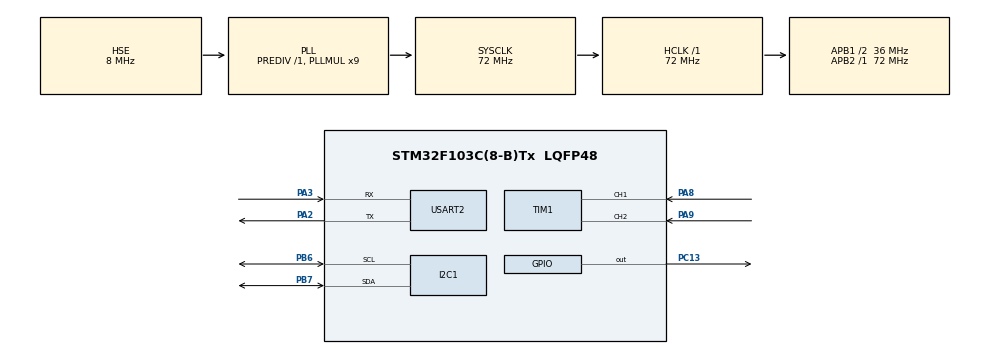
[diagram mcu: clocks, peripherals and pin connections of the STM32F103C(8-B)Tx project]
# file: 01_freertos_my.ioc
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FREERTOS.Tasks01=defaultTask,24,128,StartDefaultTask,Default,NULL,Dynamic,NULL,NULL
Mcu.Family=STM32F1
Mcu.Name=STM32F103C(8-B)Tx
Mcu.Package=LQFP48
NVIC.PriorityGroup=NVIC_PRIORITYGROUP_4
NVIC.TIM3_IRQn=true\:5\:0\:false\:false\:true\:true\:true\:true\:true
NVIC.TIM4_IRQn=true\:15\:0\:false\:false\:true\:false\:false\:true\:true
NVIC.TimeBase=TIM4_IRQn
NVIC.TimeBaseIP=TIM4
NVIC.USART2_IRQn=true\:5\:0\:false\:false\:true\:true\:true\:true\:true
PA13.Mode=Serial_Wire
PA13.Signal=SYS_JTMS-SWDIO
PA14.Mode=Serial_Wire
PA14.Signal=SYS_JTCK-SWCLK
PA2.Mode=Asynchronous
PA2.Signal=USART2_TX
PA3.Mode=Asynchronous
PA3.Signal=USART2_RX
PA8.GPIO_PuPd=GPIO_PULLUP
PA8.Signal=S_TIM1_CH1
PA9.GPIO_PuPd=GPIO_PULLUP
PA9.Signal=S_TIM1_CH2
PB6.Mode=I2C
PB6.Signal=I2C1_SCL
PB7.Mode=I2C
PB7.Signal=I2C1_SDA
PC13-TAMPER-RTC.GPIO_ModeDefaultOutputPP=GPIO_MODE_OUTPUT_PP
PC13-TAMPER-RTC.Signal=GPIO_Output
PC14-OSC32_IN.Mode=LSE-External-Oscillator
PC14-OSC32_IN.Signal=RCC_OSC32_IN
PC15-OSC32_OUT.Mode=LSE-External-Oscillator
PC15-OSC32_OUT.Signal=RCC_OSC32_OUT
PD0-OSC_IN.Mode=HSE-External-Oscillator
PD0-OSC_IN.Signal=RCC_OSC_IN
PD1-OSC_OUT.Mode=HSE-External-Oscillator
PD1-OSC_OUT.Signal=RCC_OSC_OUT
ProjectManager.HeapSize=0x200
ProjectManager.StackSize=0x400
ProjectManager.TargetToolchain=MDK-ARM V5.32
RCC.AHBFreq_Value=72000000
RCC.APB1CLKDivider=RCC_HCLK_DIV2
RCC.APB1Freq_Value=36000000
RCC.APB1TimFreq_Value=72000000
RCC.APB2Freq_Value=72000000
RCC.APB2TimFreq_Value=72000000
RCC.HCLKFreq_Value=72000000
RCC.PLLMUL=RCC_PLL_MUL9
RCC.PLLSourceVirtual=RCC_PLLSOURCE_HSE
RCC.RTCClockSelection=RCC_RTCCLKSOURCE_LSE
RCC.SYSCLKFreq_VALUE=72000000
RCC.SYSCLKSource=RCC_SYSCLKSOURCE_PLLCLK
RCC.USBFreq_Value=72000000
RTC.Date=2
RTC.Hours=10
RTC.Minutes=34
RTC.Month=RTC_MONTH_JULY
RTC.Seconds=50
RTC.WeekDay=RTC_WEEKDAY_WEDNESDAY
RTC.Year=25
SH.S_TIM1_CH1.0=TIM1_CH1,Encoder_Interface
SH.S_TIM1_CH2.0=TIM1_CH2,Encoder_Interface
TIM1.EncoderMode=TIM_ENCODERMODE_TI12
TIM1.IC1Filter=15
TIM1.IC2Filter=15
TIM3.Period=200-1
TIM3.Prescaler=7200-1
USART2.VirtualMode=VM_ASYNC
VP_FREERTOS_VS_CMSIS_V2.Mode=CMSIS_V2
VP_RTC_VS_RTC_Activate.Mode=RTC_Enabled
VP_RTC_VS_RTC_Calendar.Mode=RTC_Calendar
VP_SYS_VS_tim4.Mode=TIM4
VP_TIM3_VS_ClockSourceINT.Mode=Internal
board=custom

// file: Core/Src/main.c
/* USER CODE BEGIN Header */
/**
  ******************************************************************************
  * @file           : main.c
  * @brief          : Main program body
  ******************************************************************************
  * @attention
  *
  * Copyright (c) 2023 STMicroelectronics.
  * All rights reserved.
  *
  * This software is licensed under terms that can be found in the LICENSE file
  * in the root directory of this software component.
  * If no LICENSE file comes with this software, it is provided AS-IS.
  *
  ******************************************************************************
  */
/* USER CODE END Header */
#include "main.h"
#include "cmsis_os.h"
#include "i2c.h"
#include "rtc.h"
#include "tim.h"
#include "usart.h"
#include "gpio.h"

void SystemClock_Config(void);
void MX_FREERTOS_Init(void);

int main(void)
{

  /* MCU Configuration--------------------------------------------------------*/

  /* Reset of all peripherals, Initializes the Flash interface and the Systick. */
  HAL_Init();

  /* Configure the system clock */
  SystemClock_Config();

  /* Initialize all configured peripherals */
  MX_GPIO_Init();
  MX_I2C1_Init();
  MX_USART2_UART_Init();
  MX_RTC_Init();
  MX_TIM1_Init();
  MX_TIM3_Init();

  /* Init scheduler */
  osKernelInitialize();

  /* Call init function for freertos objects (in cmsis_os2.c) */
  MX_FREERTOS_Init();

  /* Start scheduler */
  osKernelStart();

  /* We should never get here as control is now taken by the scheduler */

  /* Infinite loop */
  while (1)
  {

  }
}

void SystemClock_Config(void)
{
  RCC_OscInitTypeDef RCC_OscInitStruct = {0};
  RCC_ClkInitTypeDef RCC_ClkInitStruct = {0};
  RCC_PeriphCLKInitTypeDef PeriphClkInit = {0};

  /** Initializes the RCC Oscillators according to the specified parameters
  * in the RCC_OscInitTypeDef structure.
  */
  RCC_OscInitStruct.OscillatorType = RCC_OSCILLATORTYPE_HSE|RCC_OSCILLATORTYPE_LSE;
  RCC_OscInitStruct.HSEState = RCC_HSE_ON;
  RCC_OscInitStruct.HSEPredivValue = RCC_HSE_PREDIV_DIV1;
  RCC_OscInitStruct.LSEState = RCC_LSE_ON;
  RCC_OscInitStruct.HSIState = RCC_HSI_ON;
  RCC_OscInitStruct.PLL.PLLState = RCC_PLL_ON;
  RCC_OscInitStruct.PLL.PLLSource = RCC_PLLSOURCE_HSE;
  RCC_OscInitStruct.PLL.PLLMUL = RCC_PLL_MUL9;
  if (HAL_RCC_OscConfig(&RCC_OscInitStruct) != HAL_OK)
  {
    Error_Handler();
  }

  /** Initializes the CPU, AHB and APB buses clocks
  */
  RCC_ClkInitStruct.ClockType = RCC_CLOCKTYPE_HCLK|RCC_CLOCKTYPE_SYSCLK
                              |RCC_CLOCKTYPE_PCLK1|RCC_CLOCKTYPE_PCLK2;
  RCC_ClkInitStruct.SYSCLKSource = RCC_SYSCLKSOURCE_PLLCLK;
  RCC_ClkInitStruct.AHBCLKDivider = RCC_SYSCLK_DIV1;
  RCC_ClkInitStruct.APB1CLKDivider = RCC_HCLK_DIV2;
  RCC_ClkInitStruct.APB2CLKDivider = RCC_HCLK_DIV1;

  if (HAL_RCC_ClockConfig(&RCC_ClkInitStruct, FLASH_LATENCY_2) != HAL_OK)
  {
    Error_Handler();
  }
  PeriphClkInit.PeriphClockSelection = RCC_PERIPHCLK_RTC;
  PeriphClkInit.RTCClockSelection = RCC_RTCCLKSOURCE_LSE;
  if (HAL_RCCEx_PeriphCLKConfig(&PeriphClkInit) != HAL_OK)
  {
    Error_Handler();
  }
}

void HAL_TIM_PeriodElapsedCallback(TIM_HandleTypeDef *htim)
{
  if (htim->Instance == TIM4)
  {
    HAL_IncTick();
  }
}

void Error_Handler(void)
{
  __disable_irq();
  while (1)
  {
  }
}

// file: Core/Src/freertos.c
/* USER CODE BEGIN Header */
/**
  ******************************************************************************
  * File Name          : freertos.c
  * Description        : Code for freertos applications
  ******************************************************************************
  * @attention
  *
  * Copyright (c) 2023 STMicroelectronics.
  * All rights reserved.
  *
  * This software is licensed under terms that can be found in the LICENSE file
  * in the root directory of this software component.
  * If no LICENSE file comes with this software, it is provided AS-IS.
  *
  ******************************************************************************
  */
/* USER CODE END Header */

#include "FreeRTOS.h"
#include "task.h"
#include "main.h"
#include "cmsis_os.h"

/* USER CODE BEGIN Includes */
#include "driver_led.h"
#include "oled.h"
#include "bsp_hw269.h"
#include "driver_timer.h"
#include "driver_active_buzzer.h"
#include "driver_esp8266.h"
#include "timestamp.h"
#include "usart.h"
#include "key.h"
#include "tim.h"

/* USER CODE END Includes */

/* USER CODE BEGIN Variables */
static StackType_t g_puStackoflightTask[128];
static StaticTask_t g_TCBoflightTask;

osThreadId_t encoderTaskHandle;
const osThreadAttr_t encoderTask_attributes = {
  .name = "encoderTask",
  .stack_size = 128 * 4,
  .priority = (osPriority_t) osPriorityNormal,
};

/* USER CODE END Variables */
/* Definitions for defaultTask */
osThreadId_t defaultTaskHandle;
const osThreadAttr_t defaultTask_attributes = {
  .name = "defaultTask",
  .stack_size = 128 * 4,
  .priority = (osPriority_t) osPriorityNormal,
};

/* USER CODE BEGIN FunctionPrototypes */
struct taskprintinfo{
  uint8_t x;
  uint8_t y;
  char name[16];
};

static struct taskprintinfo g_task1printinfo = {0,0,"task1"};
static struct taskprintinfo g_task2printinfo = {0,3,"task2"};
static struct taskprintinfo g_task3printinfo = {0,6,"task3"};
static uint8_t Oled_flag = 0;

void EncoderTask(void *argument);

/* USER CODE END FunctionPrototypes */

void StartDefaultTask(void *argument);

void MX_FREERTOS_Init(void); /* (MISRA C 2004 rule 8.1) */

void MX_FREERTOS_Init(void) {
  /* USER CODE BEGIN Init */

  OLED_Init();
  OLED_Clear();
  /* USER CODE END Init */

  /* Create the thread(s) */
  /* creation of defaultTask */
  defaultTaskHandle = osThreadNew(StartDefaultTask, NULL, &defaultTask_attributes);

  /* USER CODE BEGIN RTOS_THREADS */

  encoderTaskHandle = osThreadNew(EncoderTask, NULL, &encoderTask_attributes);

  /* add threads, ... */
  /**/
  //xTaskCreate(ActiveBuzzer_Test, "playmusic", 128, NULL, osPriorityNormal, &xsoundtaskhandle);

  /*ssssssss*/
  //xlighttaskhandle = xTaskCreateStatic(Led_Test, "lighttask", 128, NULL, osPriorityNormal, g_puStackoflightTask,&g_TCBoflightTask);

  /*task1*/
//  xTaskCreate(OLEDprintTask, "task1", 128, &g_task1printinfo, osPriorityNormal, NULL);
  /*task2*/
//  xTaskCreate(OLEDprintTask, "task2", 128, &g_task2printinfo, osPriorityNormal, NULL);
  /*task3*/
  //xTaskCreate(OLEDprintTask, "task3", 128, &g_task3printinfo, osPriorityNormal, NULL);

  /* USER CODE END RTOS_THREADS */

}

void StartDefaultTask(void *argument)
{
  /* USER CODE BEGIN StartDefaultTask */
  /* Infinite loop */

  extern RTC_HandleTypeDef hrtc;
  Times time_now;
  RTC_TimeTypeDef RTC_TimeStruct = {0};
  RTC_DateTypeDef RTC_DataStruct = {0};

  int c_time = Get_current_time();
  time_now = stamp_to_standard(c_time);
  save_time_init(&RTC_TimeStruct,&RTC_DataStruct,time_now);
  uint8_t cycle = 0;
  OLED_Clear();
  HAL_RTC_SetTime(&hrtc, &RTC_TimeStruct,RTC_FORMAT_BIN);
  HAL_RTC_SetDate(&hrtc, &RTC_DataStruct,RTC_FORMAT_BIN);
  for(;;){
    HAL_RTC_GetTime(&hrtc, &RTC_TimeStruct, RTC_FORMAT_BIN);
    HAL_RTC_GetDate(&hrtc, &RTC_DataStruct, RTC_FORMAT_BIN);
    OLED_ShowString(0,16, "H:",OLED_8X16_HALF);
    OLED_ShowNum(16, 16, RTC_TimeStruct.Hours,2,OLED_8X16_HALF);

    OLED_ShowString(40,16, "M:",OLED_8X16_HALF);
    OLED_ShowNum(56, 16, RTC_TimeStruct.Minutes,2,OLED_8X16_HALF);

    OLED_ShowString(80,16, "S:",OLED_8X16_HALF);
    OLED_ShowNum(96, 16, RTC_TimeStruct.Seconds,2,OLED_8X16_HALF);

    OLED_ShowString(0,0, "Y:",OLED_8X16_HALF);
    OLED_ShowNum(16, 0, RTC_DataStruct.Year,2,OLED_8X16_HALF);

    OLED_ShowString(40,0, "M:",OLED_8X16_HALF);
    OLED_ShowNum(56, 0, RTC_DataStruct.Month,2,OLED_8X16_HALF);

    OLED_ShowString(80,0, "D:",OLED_8X16_HALF);
    OLED_ShowNum(96, 0, RTC_DataStruct.Date,2,OLED_8X16_HALF);

    OLED_Update();
    vTaskDelay(500);
  }

  /* USER CODE END StartDefaultTask */
}

/* USER CODE BEGIN Application */

/**
  * @brief  Function implementing the encoderTask thread.
  * @param  argument: Not used
  * @retval None
  */
void EncoderTask(void *argument)
{
  /* USER CODE BEGIN EncoderTask */

  HAL_TIM_Encoder_Start(&htim1, TIM_CHANNEL_ALL);

  int32_t encoderCount = 0;
  int32_t lastCount = 0;
  int32_t encoderValue = 0;
  int32_t minValue = 0;
  int32_t maxValue = 100;

  __HAL_TIM_SET_COUNTER(&htim1, 32768);

  OLED_Clear();

  OLED_Update();

  for(;;)
  {

    encoderCount = __HAL_TIM_GET_COUNTER(&htim1);

    if(encoderCount != lastCount)
    {

      if(encoderCount > lastCount)
      {

        if(encoderCount - lastCount > 32768)
          encoderValue--;
        else
          encoderValue++;
      }
      else
      {

        if(lastCount - encoderCount > 32768)
          encoderValue++;
        else
          encoderValue--;
      }

      if(encoderValue > maxValue)
        encoderValue = minValue;
      if(encoderValue < minValue)
        encoderValue = maxValue;

      OLED_ClearArea(0, 32, 128, 32);

      OLED_ShowNum(64, 32, encoderValue, 3, OLED_8X16_HALF);

      int barWidth = (encoderValue - minValue) * 100 / (maxValue - minValue);
      OLED_DrawRectangle(0, 48, 100, 10, 0);
      OLED_DrawRectangle(0, 48, barWidth, 10, 1);

      OLED_UpdateArea(0, 32, 128, 32);

      lastCount = encoderCount;
    }

    vTaskDelay(100);
  }
  /* USER CODE END EncoderTask */
}

/* USER CODE END Application */
